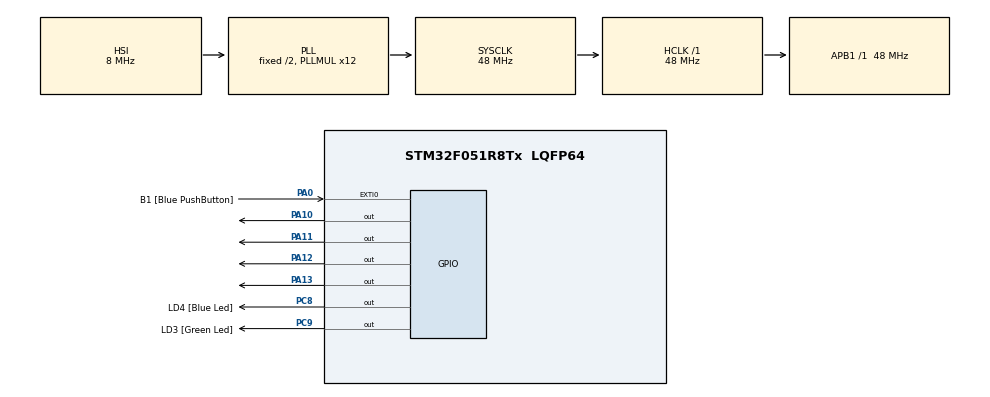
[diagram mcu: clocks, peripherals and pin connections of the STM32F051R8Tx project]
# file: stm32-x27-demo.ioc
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Mcu.Family=STM32F0
Mcu.Name=STM32F051R8Tx
Mcu.Package=LQFP64
NVIC.EXTI0_1_IRQn=true\:2\:0\:true\:true\:true\:2\:true\:true\:true
NVIC.TIM14_IRQn=true\:1\:0\:true\:true\:true\:1\:true\:true\:true
PA0.GPIO_Label=B1 [Blue PushButton]
PA0.GPIO_ModeDefaultEXTI=GPIO_MODE_IT_RISING
PA0.Signal=GPXTI0
PA10.GPIO_Speed=GPIO_SPEED_FREQ_MEDIUM
PA10.PinState=GPIO_PIN_RESET
PA10.Signal=GPIO_Output
PA11.GPIO_Speed=GPIO_SPEED_FREQ_MEDIUM
PA11.PinState=GPIO_PIN_RESET
PA11.Signal=GPIO_Output
PA12.GPIO_Speed=GPIO_SPEED_FREQ_MEDIUM
PA12.PinState=GPIO_PIN_RESET
PA12.Signal=GPIO_Output
PA13.GPIO_Speed=GPIO_SPEED_FREQ_MEDIUM
PA13.Signal=GPIO_Output
PC8.GPIO_Label=LD4 [Blue Led]
PC8.Signal=GPIO_Output
PC9.GPIO_Label=LD3 [Green Led]
PC9.Signal=GPIO_Output
ProjectManager.HeapSize=0x200
ProjectManager.StackSize=0x400
ProjectManager.TargetToolchain=Makefile
RCC.AHBFreq_Value=48000000
RCC.APB1Freq_Value=48000000
RCC.APB1TimFreq_Value=48000000
RCC.HCLKFreq_Value=48000000
RCC.PLLMUL=RCC_PLL_MUL12
RCC.SYSCLKFreq_VALUE=48000000
RCC.SYSCLKSource=RCC_SYSCLKSOURCE_PLLCLK
TIM14.AutoReloadPreload=TIM_AUTORELOAD_PRELOAD_ENABLE
TIM14.Period=99
TIM14.Prescaler=4799
VP_TIM14_VS_ClockSourceINT.Mode=Enable_Timer
board=STM32F0DISCOVERY

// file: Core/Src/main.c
/* USER CODE BEGIN Header */
/**
 ******************************************************************************
 * @file           : main.c
 * @brief          : Main program body
 ******************************************************************************
 * @attention
 *
 * Copyright (c) 2023 STMicroelectronics.
 * All rights reserved.
 *
 * This software is licensed under terms that can be found in the LICENSE file
 * in the root directory of this software component.
 * If no LICENSE file comes with this software, it is provided AS-IS.
 *
 ******************************************************************************
 */
/* USER CODE END Header */
#include "main.h"

/* USER CODE BEGIN PD */
#define X27_GPIO_MASK  (0xC3FFU)
#define X27_GPIO_SHIFT (10U)
#define X27_MAX_SEQU   (4U)
#define X27_MAX_STEPS  (600U)
#define X27_STEP_MASK  (0xFU)
/* USER CODE END PD */

TIM_HandleTypeDef htim14;

/* USER CODE BEGIN PV */
/**
 * @brief StepperSequence
 *
 * Numbers provided in binary are in the following order for coils:
 *    - [0b] x1 y1 x2 y2
 *
 */
uint8_t const StepperSequence[4] = {
    0b1100,
    0b1001,
    0b0011,
    0b0110,
};

__IO uint16_t  StepCount        = 0;
__IO uint16_t  DesiredStep      = 0;

static uint8_t GaugeInitialized = 0;
/* USER CODE END PV */

void        SystemClock_Config(void);
static void MX_GPIO_Init(void);
static void MX_TIM14_Init(void);
static void MX_NVIC_Init(void);
/* USER CODE BEGIN PFP */
void StartupSweep() {
  HAL_GPIO_WritePin(LD3_GPIO_Port, LD3_Pin, GPIO_PIN_SET);
  DesiredStep = X27_MAX_STEPS;

  while (StepCount != DesiredStep)
    ;

  HAL_Delay(100);

  DesiredStep = 0;

  while (StepCount != DesiredStep)
    ;

  GaugeInitialized = 1;
  HAL_GPIO_WritePin(LD4_GPIO_Port, LD4_Pin, GPIO_PIN_SET);
}

uint16_t ClampSteps(uint16_t steps, uint16_t min, uint16_t max) {
  const uint16_t r = steps < min ? min : steps;
  return r > max ? max : r;
}
/* USER CODE END PFP */

/* USER CODE BEGIN 0 */
void HAL_GPIO_EXTI_Callback(uint16_t GPIO_Pin) {
  if (!GaugeInitialized) {
    return;
  }

  switch (GPIO_Pin) {
  case B1_Pin:
    DesiredStep = (DesiredStep + 5) % X27_MAX_STEPS;
    break;

  default:
    break;
  }
}

void HAL_TIM_PeriodElapsedCallback(TIM_HandleTypeDef *htim) {
  /* X27 Stepper Timer */
  if (htim->Instance == TIM14) {
    /* Update StepCount based on DesiredStep target (+/-) */
    StepCount = ClampSteps(StepCount + (StepCount < DesiredStep) -
                               (StepCount > DesiredStep),
                           0, X27_MAX_STEPS);

    /* Set the motor coil outputs directly via GPIO port write */
    GPIOA->ODR = (GPIOA->ODR & X27_GPIO_MASK) |
                 ((StepperSequence[StepCount % X27_MAX_SEQU] & X27_STEP_MASK)
                  << X27_GPIO_SHIFT);
  }
}
/* USER CODE END 0 */

int main(void) {

  /* MCU Configuration--------------------------------------------------------*/

  /* Reset of all peripherals, Initializes the Flash interface and the Systick.
   */
  HAL_Init();

  /* Configure the system clock */
  SystemClock_Config();

  /* Initialize all configured peripherals */
  MX_GPIO_Init();
  MX_TIM14_Init();

  /* Initialize interrupts */
  MX_NVIC_Init();
  /* USER CODE BEGIN 2 */
  StartupSweep();
  DesiredStep = 100;
  HAL_Delay(500);
  DesiredStep = 200;
  HAL_Delay(500);
  DesiredStep = 300;
  HAL_Delay(500);
  DesiredStep = 400;
  HAL_Delay(500);
  DesiredStep = 500;
  HAL_Delay(500);
  DesiredStep = 600;
  HAL_Delay(500);
  DesiredStep = 500;
  HAL_Delay(500);
  DesiredStep = 400;
  HAL_Delay(500);
  DesiredStep = 300;
  HAL_Delay(500);
  DesiredStep = 200;
  HAL_Delay(500);
  DesiredStep = 100;
  HAL_Delay(500);
  DesiredStep = 0;
  HAL_Delay(500);
  DesiredStep = 300;
  HAL_Delay(500);
  /* USER CODE END 2 */

  /* Infinite loop */
  while (1) {

  }
}

void SystemClock_Config(void) {
  RCC_OscInitTypeDef RCC_OscInitStruct = {0};
  RCC_ClkInitTypeDef RCC_ClkInitStruct = {0};

  /** Initializes the RCC Oscillators according to the specified parameters
   * in the RCC_OscInitTypeDef structure.
   */
  RCC_OscInitStruct.OscillatorType      = RCC_OSCILLATORTYPE_HSI;
  RCC_OscInitStruct.HSIState            = RCC_HSI_ON;
  RCC_OscInitStruct.HSICalibrationValue = RCC_HSICALIBRATION_DEFAULT;
  RCC_OscInitStruct.PLL.PLLState        = RCC_PLL_ON;
  RCC_OscInitStruct.PLL.PLLSource       = RCC_PLLSOURCE_HSI;
  RCC_OscInitStruct.PLL.PLLMUL          = RCC_PLL_MUL12;
  RCC_OscInitStruct.PLL.PREDIV          = RCC_PREDIV_DIV1;
  if (HAL_RCC_OscConfig(&RCC_OscInitStruct) != HAL_OK) {
    Error_Handler();
  }

  /** Initializes the CPU, AHB and APB buses clocks
   */
  RCC_ClkInitStruct.ClockType =
      RCC_CLOCKTYPE_HCLK | RCC_CLOCKTYPE_SYSCLK | RCC_CLOCKTYPE_PCLK1;
  RCC_ClkInitStruct.SYSCLKSource   = RCC_SYSCLKSOURCE_PLLCLK;
  RCC_ClkInitStruct.AHBCLKDivider  = RCC_SYSCLK_DIV1;
  RCC_ClkInitStruct.APB1CLKDivider = RCC_HCLK_DIV1;

  if (HAL_RCC_ClockConfig(&RCC_ClkInitStruct, FLASH_LATENCY_1) != HAL_OK) {
    Error_Handler();
  }
}

/**
 * @brief NVIC Configuration.
 * @retval None
 */
static void MX_NVIC_Init(void) {
  /* TIM14_IRQn interrupt configuration */
  HAL_NVIC_SetPriority(TIM14_IRQn, 1, 0);
  HAL_NVIC_EnableIRQ(TIM14_IRQn);
  /* EXTI0_1_IRQn interrupt configuration */
  HAL_NVIC_SetPriority(EXTI0_1_IRQn, 2, 0);
  HAL_NVIC_EnableIRQ(EXTI0_1_IRQn);
}

static void MX_TIM14_Init(void) {

  /* USER CODE BEGIN TIM14_Init 1 */
  /*
    TimUpdate = (TimClk / (Psc + 1)) / (Arr + 1)
   */
  /* USER CODE END TIM14_Init 1 */
  htim14.Instance               = TIM14;
  htim14.Init.Prescaler         = 479;
  htim14.Init.CounterMode       = TIM_COUNTERMODE_UP;
  htim14.Init.Period            = 99;
  htim14.Init.ClockDivision     = TIM_CLOCKDIVISION_DIV1;
  htim14.Init.AutoReloadPreload = TIM_AUTORELOAD_PRELOAD_ENABLE;
  if (HAL_TIM_Base_Init(&htim14) != HAL_OK) {
    Error_Handler();
  }
  /* USER CODE BEGIN TIM14_Init 2 */
  if (HAL_TIM_Base_Start_IT(&htim14) != HAL_OK) {
    Error_Handler();
  }
  /* USER CODE END TIM14_Init 2 */
}

static void MX_GPIO_Init(void) {
  GPIO_InitTypeDef GPIO_InitStruct = {0};

  /* GPIO Ports Clock Enable */
  __HAL_RCC_GPIOA_CLK_ENABLE();
  __HAL_RCC_GPIOC_CLK_ENABLE();

  /*Configure GPIO pin Output Level */
  HAL_GPIO_WritePin(GPIOC, LD4_Pin | LD3_Pin, GPIO_PIN_RESET);

  /*Configure GPIO pin Output Level */
  HAL_GPIO_WritePin(GPIOA,
                    GPIO_PIN_10 | GPIO_PIN_11 | GPIO_PIN_12 | GPIO_PIN_13,
                    GPIO_PIN_RESET);

  /*Configure GPIO pin : B1_Pin */
  GPIO_InitStruct.Pin  = B1_Pin;
  GPIO_InitStruct.Mode = GPIO_MODE_IT_RISING;
  GPIO_InitStruct.Pull = GPIO_NOPULL;
  HAL_GPIO_Init(B1_GPIO_Port, &GPIO_InitStruct);

  /*Configure GPIO pins : LD4_Pin LD3_Pin */
  GPIO_InitStruct.Pin   = LD4_Pin | LD3_Pin;
  GPIO_InitStruct.Mode  = GPIO_MODE_OUTPUT_PP;
  GPIO_InitStruct.Pull  = GPIO_NOPULL;
  GPIO_InitStruct.Speed = GPIO_SPEED_FREQ_LOW;
  HAL_GPIO_Init(GPIOC, &GPIO_InitStruct);

  /*Configure GPIO pins : PA10 PA11 PA12 PA13 */
  GPIO_InitStruct.Pin   = GPIO_PIN_10 | GPIO_PIN_11 | GPIO_PIN_12 | GPIO_PIN_13;
  GPIO_InitStruct.Mode  = GPIO_MODE_OUTPUT_PP;
  GPIO_InitStruct.Pull  = GPIO_NOPULL;
  GPIO_InitStruct.Speed = GPIO_SPEED_FREQ_MEDIUM;
  HAL_GPIO_Init(GPIOA, &GPIO_InitStruct);

}

void Error_Handler(void) {
  __disable_irq();
  while (1) {
  }
}

#ifdef USE_FULL_ASSERT
/**
 * @brief  Reports the name of the source file and the source line number
 *         where the assert_param error has occurred.
 * @param  file: pointer to the source file name
 * @param  line: assert_param error line source number
 * @retval None
 */
void assert_failed(uint8_t *file, uint32_t line) {
  /* USER CODE BEGIN 6 */
  /* User can add his own implementation to report the file name and line
     number, ex: printf("Wrong parameters value: file %s on line %d\r\n", file,
     line) */
  /* USER CODE END 6 */
}
#endif /* USE_FULL_ASSERT */
